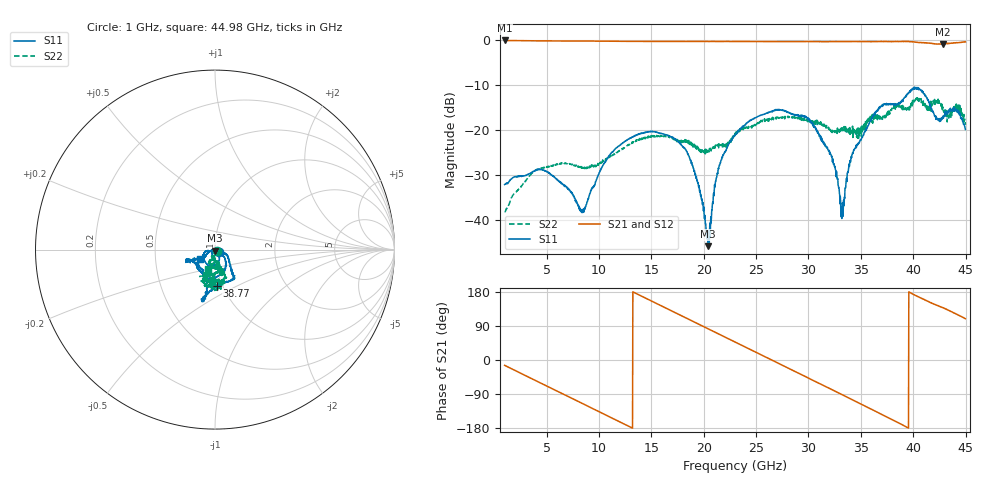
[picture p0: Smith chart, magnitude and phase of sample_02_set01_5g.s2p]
!Keysight Technologies,N5247B,MY61255062,A.19.80.06
!Date: Friday, March 13, 2026 17:58:08
!Correction: S11(C  2-Port  )
!S21(C  2-Port  )
!S12(C  2-Port  )
!S22(C  2-Port  )
!S2P File: Measurements: S11, S21, S12, S22:
# Hz S  dB  R 50
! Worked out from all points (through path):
!   1467 points, 1 GHz to 44.98 GHz, reference 50 ohm
!   highest |S21| = -0.12 dB at 1 GHz (marker M1); lowest = -0.9 dB at 42.85 GHz (marker M2)
!   group delay of S21, straight-line fit = 37.8 ps
!   lowest |S11| = -45.8 dB at 20.44 GHz (marker M3), VSWR 1.01, Z = 49.9 - j0.506 ohm
!   |S11| at or under -10 dB: start of sweep to end of sweep
!   |S22| runs from -38.2 to -12.8 dB; largest |S21 - S12| = 0.0091
!   S11 on the Smith chart (normalised r, x): 1 GHz: 1.04, -0.03; 38.77 GHz: 0.94, -0.39; 44.98 GHz: 0.84, -0.09
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1e9  -32.15 -37.0  -0.12 -14.0  -0.12 -14.0  -38.14 -39.2
4.96e9  -29.23 -115.1  -0.21 -67.8  -0.21 -67.8  -28.15 -106.4
8.35e9  -38.09 -92.9  -0.25 -113.7  -0.25 -113.7  -28.52 -114.3
1.039e10  -27.85 -58.1  -0.27 -141.5  -0.27 -141.5  -26.90 -95.1
1.213e10  -23.16 -72.8  -0.29 -165.2  -0.29 -165.2  -24.36 -91.7
1.567e10  -20.63 -117.8  -0.33 147.1  -0.33 147.1  -21.34 -107.9
1.846e10  -25.30 -149.5  -0.33 109.3  -0.33 109.3  -22.78 -115.5
1.954e10  -32.81 -165.3  -0.33 94.5  -0.33 94.5  -24.53 -114.4
2.044e10  -45.84 -97.4  -0.36 82.3  -0.35 82.3  -24.50 -96.8
2.143e10  -28.66 -36.6  -0.35 68.9  -0.35 68.9  -23.99 -87.2
2.299e10  -21.07 -47.2  -0.36 47.8  -0.35 47.8  -20.80 -76.5
2.662e10  -15.72 -94.4  -0.37 -1.7  -0.37 -1.7  -17.43 -89.6
3.034e10  -18.63 -140.6  -0.37 -52.4  -0.36 -52.4  -17.95 -104.7
3.226e10  -26.20 -171.3  -0.37 -78.4  -0.37 -78.4  -20.59 -106.5
3.322e10  -39.43 -94.3  -0.37 -91.5  -0.37 -91.5  -19.53 -85.9
3.433e10  -24.42 -24.4  -0.36 -106.7  -0.36 -106.7  -20.96 -87.2
3.766e10  -14.39 -59.4  -0.37 -152.7  -0.37 -152.6  -16.59 -67.6
3.877e10  -13.92 -86.9  -0.35 -168.2  -0.34 -168.1  -14.89 -86.0
4.045e10  -10.95 -103.2  -0.56 167.3  -0.55 167.4  -13.48 -87.6
4.285e10  -17.11 -153.9  -0.94 137.7  -0.88 137.9  -15.10 -114.5
4.405e10  -15.71 -160.0  -0.64 122.0  -0.63 122.0  -14.54 -99.6
4.498e10  -19.92 -148.8  -0.45 109.1  -0.43 109.1  -18.87 -111.1
